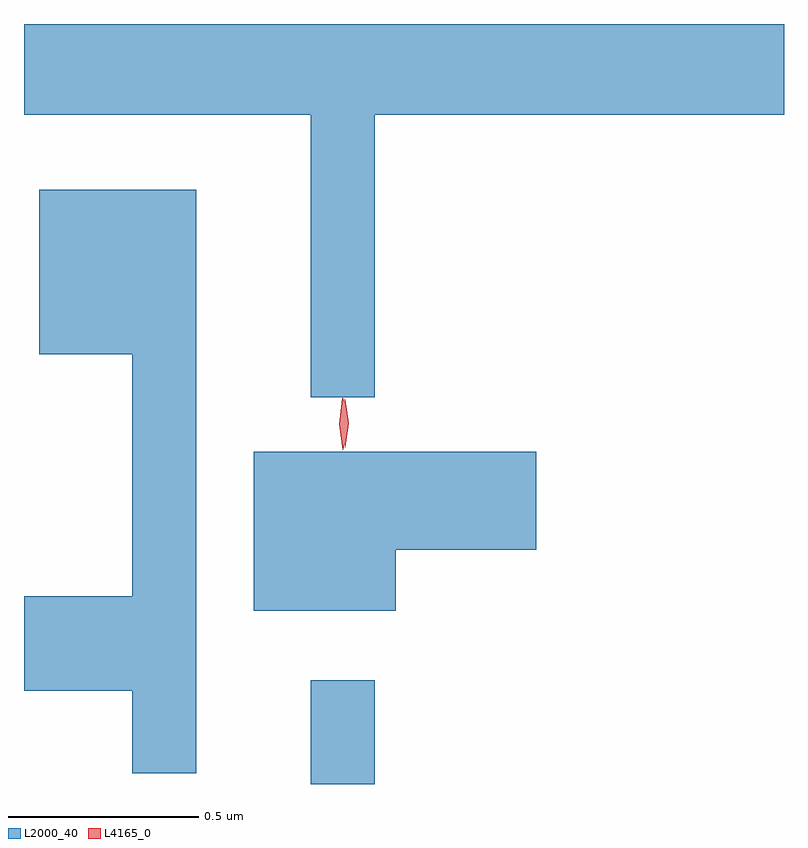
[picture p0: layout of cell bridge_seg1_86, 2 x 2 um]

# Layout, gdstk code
import gdstk
lib = gdstk.Library(unit=1e-6, precision=1e-09)
def R(c, l, rs):  # rectangles x0, y0, x1, y1
    for r in rs: c.add(gdstk.rectangle(r[:2], r[2:], *l))
def P(c, l, *ps):  # polygons
    for p in ps: c.add(gdstk.Polygon(p, *l))
L2000_40 = (2000, 40)
L4165_0 = (4165, 0)

bridge_seg1_86 = lib.new_cell('bridge_seg1_86')
R(bridge_seg1_86, L2000_40, [(1259.781,877.835,1259.949,878.108)])
P(bridge_seg1_86, L2000_40, [(1259.949,879.596),(1261.026,879.596),(1261.026,879.835),(1259.026,879.835),(1259.026,879.596),(1259.781,879.596),(1259.781,878.853),(1259.949,878.853)],
  [(1259.479,879.399),(1259.066,879.399),(1259.066,878.966),(1259.311,878.966),(1259.311,878.329),(1259.026,878.329),(1259.026,878.081),(1259.311,878.081),(1259.311,877.863),(1259.479,877.863)],
  [(1260.004,878.451),(1260.374,878.451),(1260.374,878.709),(1259.631,878.709),(1259.631,878.291),(1260.004,878.291)])
P(bridge_seg1_86, L4165_0, [(1259.865,878.714),(1259.856,878.782),(1259.864,878.85),(1259.865,878.85),(1259.866,878.85),(1259.875,878.782),(1259.866,878.714),(1259.866,878.714)],
  [(1259.871,878.72),(1259.871,878.721),(1259.861,878.783),(1259.87,878.846),(1259.87,878.847),(1259.871,878.846),(1259.881,878.784),(1259.872,878.721)])

lib.write_gds('bridge_seg1_86.gds')
